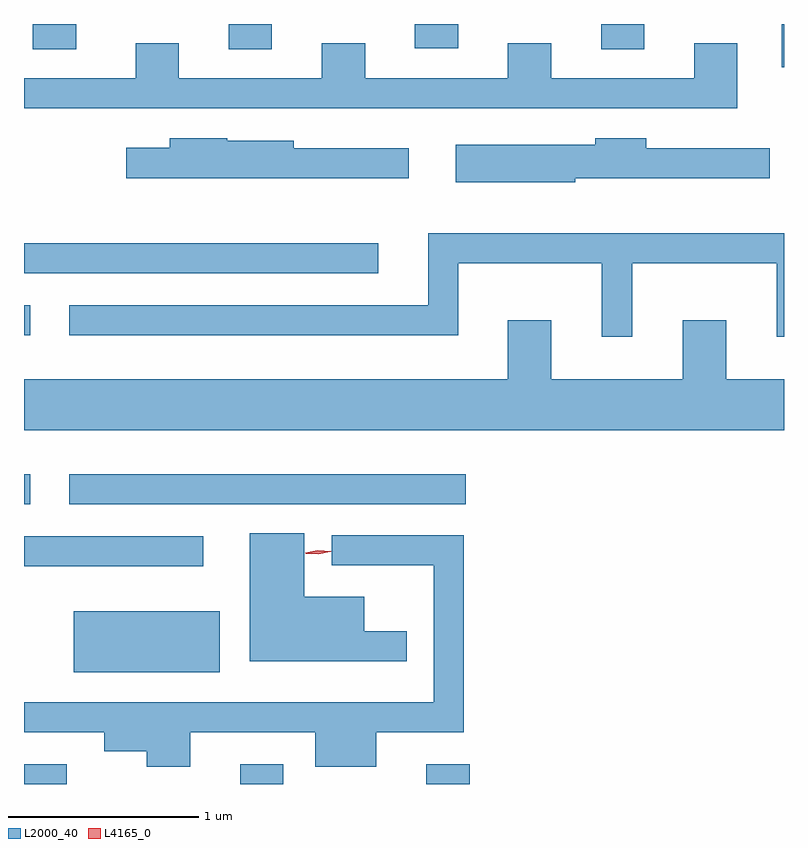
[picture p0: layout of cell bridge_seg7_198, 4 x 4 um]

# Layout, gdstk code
import gdstk
lib = gdstk.Library(unit=1e-6, precision=1e-09)
def R(c, l, rs):  # rectangles x0, y0, x1, y1
    for r in rs: c.add(gdstk.rectangle(r[:2], r[2:], *l))
def P(c, l, *ps):  # polygons
    for p in ps: c.add(gdstk.Polygon(p, *l))
L2000_40 = (2000, 40)
L4165_0 = (4165, 0)

bridge_seg7_198 = lib.new_cell('bridge_seg7_198')
R(bridge_seg7_198, L2000_40, [(1525.014,1694.694,1525.239,1694.799), (1526.151,1694.694,1526.379,1694.799), (1527.131,1694.694,1527.359,1694.799), (1525.276,1695.281,1526.044,1695.604), (1525.014,1695.841,1525.958,1695.999), (1525.014,1696.166,1525.048,1696.324), (1525.253,1696.166,1527.338,1696.324), (1525.014,1697.056,1525.048,1697.214), (1525.014,1697.381,1526.878,1697.539), (1529.001,1698.466,1529.014,1698.694), (1525.061,1698.561,1525.289,1698.694), (1526.091,1698.561,1526.319,1698.694), (1528.051,1698.561,1528.279,1698.694), (1527.071,1698.566,1527.299,1698.694)])
P(bridge_seg7_198, L2000_40, [(1528.769,1698.594),(1528.541,1698.594),(1528.541,1698.409),(1527.789,1698.409),(1527.789,1698.594),(1527.561,1698.594),(1527.561,1698.409),(1526.809,1698.409),(1526.809,1698.594),(1526.581,1698.594),(1526.581,1698.409),(1525.829,1698.409),(1525.829,1698.594),(1525.601,1698.594),(1525.601,1698.409),(1525.014,1698.409),(1525.014,1698.251),(1528.769,1698.251)],
  [(1527.914,1697.881),(1528.938,1697.881),(1528.938,1698.039),(1528.289,1698.039),(1528.289,1698.094),(1528.021,1698.094),(1528.021,1698.059),(1527.286,1698.059),(1527.286,1697.861),(1527.914,1697.861)],
  [(1527.038,1698.039),(1526.434,1698.039),(1526.434,1698.079),(1526.085,1698.079),(1526.085,1698.094),(1525.781,1698.094),(1525.781,1698.044),(1525.553,1698.044),(1525.553,1697.881),(1527.038,1697.881)],
  [(1528.214,1697.436),(1528.976,1697.436),(1528.976,1697.048),(1529.014,1697.048),(1529.014,1697.594),(1527.141,1697.594),(1527.141,1697.214),(1525.253,1697.214),(1525.253,1697.056),(1527.299,1697.056),(1527.299,1697.436),(1528.056,1697.436),(1528.056,1697.048),(1528.214,1697.048)],
  [(1529.014,1696.824),(1528.709,1696.824),(1528.709,1697.134),(1528.481,1697.134),(1528.481,1696.824),(1527.789,1696.824),(1527.789,1697.134),(1527.561,1697.134),(1527.561,1696.824),(1525.014,1696.824),(1525.014,1696.556),(1529.014,1696.556)],
  [(1527.028,1695.499),(1526.804,1695.499),(1526.804,1695.679),(1526.489,1695.679),(1526.489,1696.014),(1526.201,1696.014),(1526.201,1695.341),(1527.028,1695.341)],
  [(1525.889,1694.966),(1526.546,1694.966),(1526.546,1694.786),(1526.869,1694.786),(1526.869,1694.966),(1527.329,1694.966),(1527.329,1696.004),(1526.633,1696.004),(1526.633,1695.846),(1527.171,1695.846),(1527.171,1695.124),(1525.014,1695.124),(1525.014,1694.966),(1525.436,1694.966),(1525.436,1694.866),(1525.661,1694.866),(1525.661,1694.786),(1525.889,1694.786)])
P(bridge_seg7_198, L4165_0, [(1526.562,1695.906),(1526.493,1695.911),(1526.492,1695.911),(1526.493,1695.912),(1526.561,1695.925),(1526.63,1695.92),(1526.631,1695.92),(1526.63,1695.919)],
  [(1526.562,1695.902),(1526.496,1695.907),(1526.496,1695.908),(1526.496,1695.908),(1526.561,1695.922),(1526.627,1695.917),(1526.628,1695.917),(1526.627,1695.916)])

lib.write_gds('bridge_seg7_198.gds')
